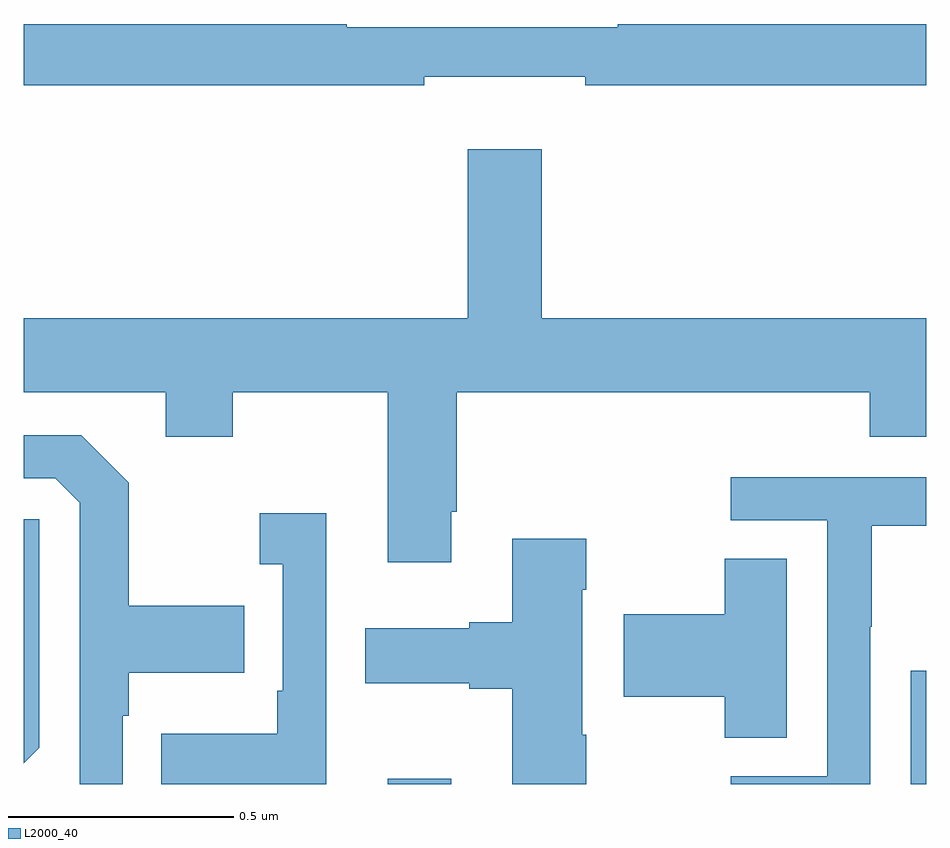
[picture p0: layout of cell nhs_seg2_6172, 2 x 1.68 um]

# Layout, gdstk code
import gdstk
lib = gdstk.Library(unit=1e-6, precision=1e-09)
def R(c, l, rs):  # rectangles x0, y0, x1, y1
    for r in rs: c.add(gdstk.rectangle(r[:2], r[2:], *l))
def P(c, l, *ps):  # polygons
    for p in ps: c.add(gdstk.Polygon(p, *l))
L2000_40 = (2000, 40)

nhs_seg2_6172 = lib.new_cell('nhs_seg2_6172')
R(nhs_seg2_6172, L2000_40, [(188.807,614.8,188.947,614.812), (189.965,614.8,190,615.051)])
P(nhs_seg2_6172, L2000_40, [(188.888,616.367),(189.244,616.367),(189.244,616.348),(190,616.348),(190,616.484),(189.316,616.484),(189.316,616.477),(188.716,616.477),(188.716,616.484),(188,616.484),(188,616.348),(188.888,616.348)],
  [(188.947,615.403),(188.96,615.403),(188.96,615.668),(189.875,615.668),(189.875,615.569),(190,615.569),(190,615.832),(189.148,615.832),(189.148,616.207),(188.984,616.207),(188.984,615.832),(188,615.832),(188,615.668),(188.315,615.668),(188.315,615.569),(188.463,615.569),(188.463,615.668),(188.807,615.668),(188.807,615.291),(188.947,615.291)],
  [(188.22,614.951),(188.233,614.951),(188.233,615.047),(188.489,615.047),(188.489,615.195),(188.233,615.195),(188.233,615.467),(188.127,615.573),(188,615.573),(188,615.477),(188.07,615.477),(188.124,615.423),(188.124,614.8),(188.22,614.8)],
  [(189.876,615.148),(189.879,615.148),(189.879,615.372),(190,615.372),(190,615.48),(189.567,615.48),(189.567,615.384),(189.78,615.384),(189.78,614.817),(189.567,614.817),(189.567,614.8),(189.876,614.8)],
  [(188.67,615.4),(188.523,615.4),(188.523,615.287),(188.574,615.287),(188.574,615.007),(188.562,615.007),(188.562,614.911),(188.305,614.911),(188.305,614.8),(188.67,614.8)],
  [(188.034,614.88),(188.034,615.387),(188,615.387),(188,614.846)],
  [(189.246,614.909),(189.238,614.909),(189.238,615.23),(189.246,615.23),(189.246,615.343),(189.083,615.343),(189.083,615.158),(188.987,615.158),(188.987,615.145),(188.757,615.145),(188.757,615.023),(188.987,615.023),(188.987,615.011),(189.083,615.011),(189.083,614.8),(189.246,614.8)],
  [(189.691,615.299),(189.553,615.299),(189.553,615.176),(189.33,615.176),(189.33,614.993),(189.553,614.993),(189.553,614.902),(189.691,614.902)])

lib.write_gds('nhs_seg2_6172.gds')
